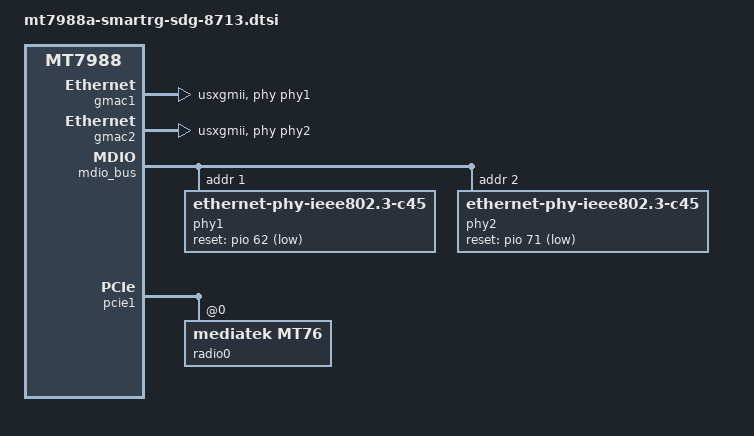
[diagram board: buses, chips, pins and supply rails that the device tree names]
// SPDX-License-Identifier: (GPL-2.0 OR MIT)
/*
 * Copyright (C) 2025 SmartRG Inc.
 * Author: Chad Monroe <chad.monroe@smartrg.com>
 *
 * Mt. Stuart phase 4: dual Realtek RTL8261 10G PHYs, MT7992 radio on
 * pcie1, built-in switch as lan2..lan4.
 */

#include "mt7988-smartrg-base.dtsi"
#include "mt7988-smartrg-sysled.dtsi"
#include "mt7988-smartrg-mt-stuart-gsw.dtsi"
#include "mt798x-smartrg-factory.dtsi"

/ {
	aliases {
		label-mac-device = &gmac2;
	};

	gpio-keys {
		button-sync {
			label = "sync";
			linux,code = <KEY_WPS_BUTTON>;
			gpios = <&pio 14 GPIO_ACTIVE_LOW>;
		};
	};
};

&button_pins {
	pins = "GPIO_RESET", "GPIO_WPS";
};

&gmac1 {
	nvmem-cells = <&macaddr 0x1>;
	nvmem-cell-names = "mac-address";
	label = "lan1";
	phy-mode = "usxgmii";
	phy = <&phy1>;

	status = "okay";
};

&gmac2 {
	nvmem-cells = <&macaddr 0x0>;
	nvmem-cell-names = "mac-address";
	label = "wan";
	phy-mode = "usxgmii";
	phy = <&phy2>;

	status = "okay";
};

&mdio_bus {
	phy1: ethernet-phy@1 {
		/* Realtek RTL8261 - LAN1 */
		compatible = "ethernet-phy-ieee802.3-c45";
		reg = <1>;

		reset-gpios = <&pio 62 GPIO_ACTIVE_LOW>;
		reset-assert-us = <100000>;
		reset-deassert-us = <221000>;

		leds {
			#address-cells = <1>;
			#size-cells = <0>;

			led@0 {
				reg = <0>;
				color = <LED_COLOR_ID_WHITE>;
				function = LED_FUNCTION_LAN;
			};

			led@1 {
				reg = <1>;
				color = <LED_COLOR_ID_GREEN>;
				function = LED_FUNCTION_LAN;
				active-low;
			};

			led@3 {
				reg = <3>;
				color = <LED_COLOR_ID_ORANGE>;
				function = LED_FUNCTION_LAN;
				active-low;
			};
		};
	};

	phy2: ethernet-phy@2 {
		/* Realtek RTL8261 - WAN */
		compatible = "ethernet-phy-ieee802.3-c45";
		reg = <2>;

		reset-gpios = <&pio 71 GPIO_ACTIVE_LOW>;
		reset-assert-us = <100000>;
		reset-deassert-us = <221000>;

		leds {
			#address-cells = <1>;
			#size-cells = <0>;

			led@0 {
				reg = <0>;
				color = <LED_COLOR_ID_WHITE>;
				function = LED_FUNCTION_WAN;
				active-low;
			};

			led@1 {
				reg = <1>;
				color = <LED_COLOR_ID_ORANGE>;
				function = LED_FUNCTION_WAN;
			};

			led@3 {
				reg = <3>;
				color = <LED_COLOR_ID_GREEN>;
				function = LED_FUNCTION_WAN;
			};
		};
	};
};

&pcie1 {
	wifi-reset-gpios = <&pio 7 GPIO_ACTIVE_LOW>;
	wifi-reset-msleep = <100>;
	status = "okay";

	pcie@0,0 {
		reg = <0x0000 0 0 0 0>;
		#address-cells = <3>;
		#size-cells = <2>;

		radio0: wifi@0,0 {
			compatible = "mediatek,mt76";
			reg = <0x0000 0 0 0 0>;
			#address-cells = <1>;
			#size-cells = <0>;
			nvmem-cells = <&eeprom_factory_0>;
			nvmem-cell-names = "eeprom";
			ieee80211-freq-limit = <2400000 2500000>, <5170000 5835000>;

			band@0 {
				/* 2.4 GHz */
				reg = <0>;
				nvmem-cells = <&macaddr 0x4>;
				nvmem-cell-names = "mac-address";
			};

			band@1 {
				/* 5 GHz */
				reg = <1>;
				nvmem-cells = <&macaddr 0xa>;
				nvmem-cell-names = "mac-address";
			};
		};
	};
};
